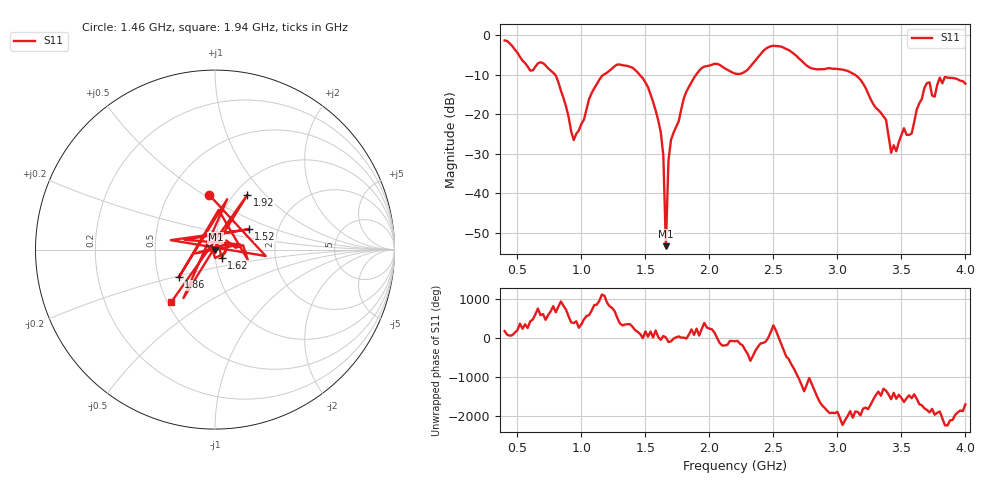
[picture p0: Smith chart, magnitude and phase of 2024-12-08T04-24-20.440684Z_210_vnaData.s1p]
!Created with skrf (http://scikit-rf.org).
# Hz S RI R 50.0
!freq ReS11 ImS11
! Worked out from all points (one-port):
!   181 points, 400 MHz to 4 GHz, reference 50 ohm
!   lowest |S11| = -53.3 dB at 1.66 GHz (marker M1), VSWR 1.00, Z = 50.2 + j0.0428 ohm
!   |S11| at or under -10 dB: 794 MHz to 1.175 GHz (380.7 MHz wide, 38.7 % of centre); 1.454 GHz to 1.896 GHz (442.3 MHz wide, 26.4 % of centre); 3.135 GHz to end of sweep
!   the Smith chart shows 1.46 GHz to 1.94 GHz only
!   S11 on the Smith chart (normalised r, x): 1.46 GHz: 0.78, +0.53; 1.52 GHz: 1.42, +0.34; 1.62 GHz: 1.07, -0.10; 1.86 GHz: 0.64, -0.21; 1.92 GHz: 1.14, +0.80; 1.94 GHz: 0.52, -0.36
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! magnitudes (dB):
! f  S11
! 400 MHz  -1.4
! 600 MHz  -9.0
! 780 MHz  -9.5
! 860 MHz  -15.9
! 940 MHz  -26.5
! 1.14 GHz  -11.3
! 1.3 GHz  -7.4
! 1.46 GHz  -10.2
! 1.52 GHz  -13.2
! 1.62 GHz  -24.6
! 1.64 GHz  -30.4
! 1.66 GHz  -53.3
! 1.68 GHz  -31.8
! 1.76 GHz  -21.8
! 1.86 GHz  -11.9
! 1.92 GHz  -9.0
! 1.94 GHz  -8.3
! 2.2 GHz  -9.7
! 2.48 GHz  -2.8
! 2.66 GHz  -4.7
! 3.1 GHz  -9.4
! 3.38 GHz  -21.4
! 3.42 GHz  -29.7
! 3.56 GHz  -25.2
! 3.7 GHz  -12.1
! 3.76 GHz  -15.6
! 3.8 GHz  -10.7
! 4 GHz  -12.3
